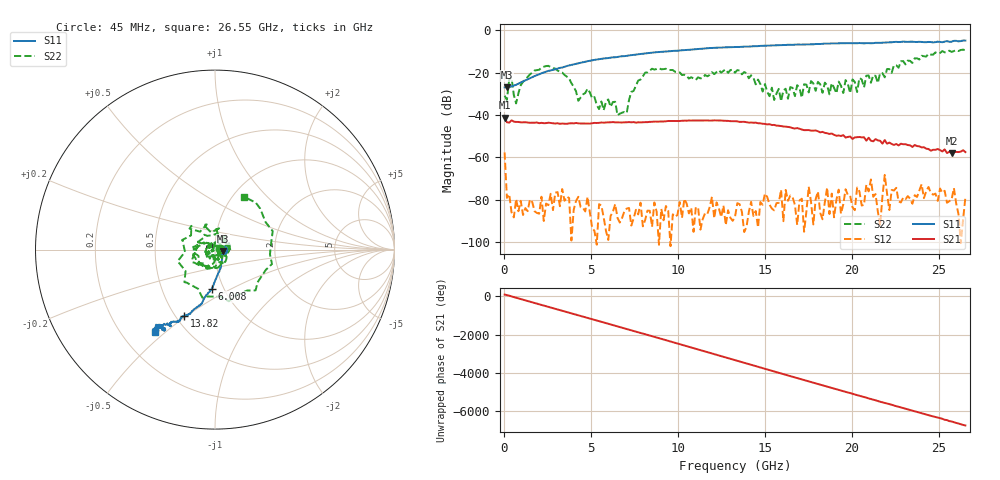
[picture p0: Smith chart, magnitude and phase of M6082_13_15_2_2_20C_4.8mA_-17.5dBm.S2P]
!  2-Port S-parameters saved by WinCal
! VAR MeasName=S-Parameters (CALIBRATED_DATA) read from VNA (C)
! VAR MeasDate=10/16/2015 12:45:01 PM
! VAR NAME=M6082_13_15_2_2_20C_4.8mA_-17.5dBm
! VAR FILENAME=M6082_13_15_2_2_20C_4.8mA_-17.5dBm.S2P
! VAR DATE=10/16/2015 12:45:01 PM
! VAR PHYS_PORTS=2,1
! VAR ObjTypeName=DATASET
! VAR IndexType=Frequency
# Hz S DB R 50
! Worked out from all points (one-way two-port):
!   201 points, 45 MHz to 26.55 GHz, reference 50 ohm
!   highest |S21| = -41.29 dB at 45 MHz (marker M1); lowest = -58.0 dB at 25.75 GHz (marker M2)
!   lowest |S11| = -27.0 dB at 177.5 MHz (marker M3), VSWR 1.09, Z = 54.6 - j0.781 ohm
!   |S11| at or under -10 dB: start of sweep to 9.488 GHz
!   |S22| runs from -40.1 to -9.2 dB; largest |S21 - S12| = 0.0092
!   S11 on the Smith chart (normalised r, x): 45 MHz: 1.09, -0.00; 6.008 GHz: 0.88, -0.40; 13.82 GHz: 0.55, -0.49; 26.55 GHz: 0.34, -0.46
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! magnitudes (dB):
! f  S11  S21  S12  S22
! 45 MHz  -27.0  -41.3  -57.6  -30.9
! 177.5 MHz  -27.0  -43.4  -79.0  -32.8
! 442.5 MHz  -26.5  -42.5  -85.9  -22.4
! 707.5 MHz  -25.8  -43.3  -79.7  -34.5
! 2.562 GHz  -19.2  -43.6  -82.5  -16.8
! 4.55 GHz  -15.1  -44.0  -83.7  -30.3
! 6.008 GHz  -13.2  -43.5  -98.9  -32.7
! 7.067 GHz  -12.1  -43.4  -84.1  -39.1
! 7.73 GHz  -11.4  -43.4  -86.8  -23.7
! 8.922 GHz  -10.3  -43.1  -101.1  -18.0
! 13.29 GHz  -8.0  -42.9  -88.1  -20.1
! 13.82 GHz  -7.8  -43.2  -95.2  -19.7
! 15.95 GHz  -7.0  -45.2  -75.2  -33.5
! 17.8 GHz  -6.7  -47.4  -91.6  -25.1
! 20.71 GHz  -6.2  -50.5  -82.3  -26.9
! 21.11 GHz  -6.2  -52.1  -70.4  -24.8
! 21.64 GHz  -6.0  -52.2  -92.1  -20.2
! 21.91 GHz  -5.8  -51.8  -68.2  -22.3
! 22.17 GHz  -5.8  -53.0  -84.8  -18.4
! 24.03 GHz  -5.6  -55.3  -72.6  -12.1
! 25.75 GHz  -5.5  -58.0  -79.9  -10.2
! 26.55 GHz  -4.9  -57.5  -78.8  -9.5
